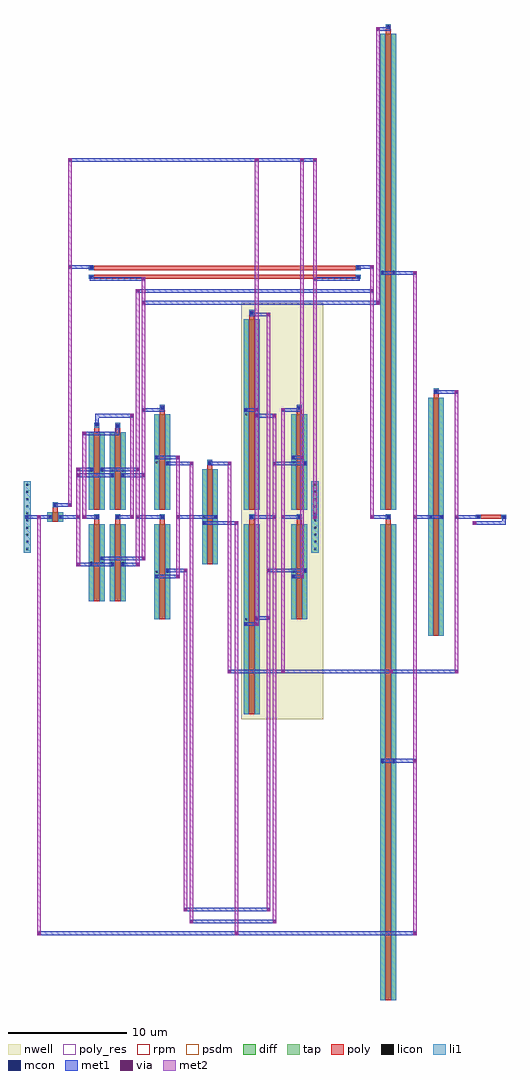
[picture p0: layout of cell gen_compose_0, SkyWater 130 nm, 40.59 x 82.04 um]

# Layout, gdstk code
import gdstk
lib = gdstk.Library(unit=1e-6, precision=1e-09)
def R(c, l, rs):  # rectangles x0, y0, x1, y1
    for r in rs: c.add(gdstk.rectangle(r[:2], r[2:], *l))
def A(c, l, x, y, w, h, nx, ny, dx, dy):  # array of equal rectangles
    R(c, l, [(x+i*dx, y+j*dy, x+i*dx+w, y+j*dy+h) for i in range(nx) for j in range(ny)])
nwell = (64, 20)
diff = (65, 20)
tap = (65, 44)
poly_res = (66, 13)
poly = (66, 20)
licon = (66, 44)
li1 = (67, 20)
mcon = (67, 44)
met1 = (68, 20)
via = (68, 44)
met2 = (69, 20)
rpm = (86, 20)
psdm = (94, 20)

mos_array = lib.new_cell('mos_array')
R(mos_array, diff, [(0,0,1.34,0.8)])
R(mos_array, poly, [(0.42,0,0.92,0.8), (0.46,0.8,0.88,1.62)])
R(mos_array, licon, [(0.125,0.315,0.295,0.485), (1.045,0.315,1.215,0.485), (0.585,1.325,0.755,1.495)])
R(mos_array, li1, [(0,0,0.42,0.8), (0.92,0,1.34,0.8), (0.46,1.2,0.88,1.62)])

ptail__ptail = lib.new_cell('ptail__PTAIL')
ptail__ptail.add(gdstk.Reference(mos_array, (0,0)))

diff_pair = lib.new_cell('diff_pair')
R(diff_pair, diff, [(0,0,1.34,6.5), (1.74,0,3.08,6.5), (0,7.72,1.34,14.22), (1.74,7.72,3.08,14.22)])
R(diff_pair, poly, [(0.42,0,0.92,6.5), (2.16,0,2.66,6.5), (0.46,6.5,0.88,7.32), (2.2,6.5,2.62,7.32), (0.42,7.72,0.92,14.22), (2.16,7.72,2.66,14.22), (0.46,14.22,0.88,15.04), (2.2,14.22,2.62,15.04)])
R(diff_pair, licon, [(0.125,3.165,0.295,3.335), (1.045,3.165,1.215,3.335), (1.865,3.165,2.035,3.335), (2.785,3.165,2.955,3.335), (0.585,7.025,0.755,7.195), (2.325,7.025,2.495,7.195), (0.125,10.885,0.295,11.055), (1.045,10.885,1.215,11.055), (1.865,10.885,2.035,11.055), (2.785,10.885,2.955,11.055), (0.585,14.745,0.755,14.915), (2.325,14.745,2.495,14.915)])
R(diff_pair, li1, [(0,0,0.42,6.5), (0.92,0,1.34,6.5), (1.74,0,2.16,6.5), (2.66,0,3.08,6.5), (0.46,6.9,0.88,7.32), (2.2,6.9,2.62,7.32), (0,7.72,0.42,14.22), (0.92,7.72,1.34,14.22), (1.74,7.72,2.16,14.22), (2.66,7.72,3.08,14.22), (0.46,14.62,0.88,15.04), (2.2,14.62,2.62,15.04)])

inpair__inpair = lib.new_cell('inpair__INPAIR')
inpair__inpair.add(gdstk.Reference(diff_pair, (0,0)))

res_array = lib.new_cell('res_array')
R(res_array, poly_res, [(0.42,0,22.42,0.35), (0.42,0.75,22.42,1.1)])
R(res_array, poly, [(0,0,22.84,0.35), (0,0.75,22.84,1.1)])
R(res_array, licon, [(0.125,0.09,0.295,0.26), (22.545,0.09,22.715,0.26), (0.125,0.84,0.295,1.01), (22.545,0.84,22.715,1.01)])
R(res_array, li1, [(0,0,0.42,0.35), (22.42,0,22.84,0.35), (0,0.75,0.42,1.1), (22.42,0.75,22.84,1.1)])
R(res_array, rpm, [(0.42,0,22.42,0.35), (0.42,0.75,22.42,1.1)])
R(res_array, psdm, [(0.42,0,22.42,0.35), (0.42,0.75,22.42,1.1)])

rload__rload = lib.new_cell('rload__RLOAD')
rload__rload.add(gdstk.Reference(res_array, (0,0)))

diff_pair_1 = lib.new_cell('diff_pair$1')
R(diff_pair_1, diff, [(0,0,1.34,8), (0,9.22,1.34,17.22)])
R(diff_pair_1, poly, [(0.42,0,0.92,8), (0.46,8,0.88,8.82), (0.42,9.22,0.92,17.22), (0.46,17.22,0.88,18.04)])
R(diff_pair_1, licon, [(0.125,3.915,0.295,4.085), (1.045,3.915,1.215,4.085), (0.585,8.525,0.755,8.695), (0.125,13.135,0.295,13.305), (1.045,13.135,1.215,13.305), (0.585,17.745,0.755,17.915)])
R(diff_pair_1, li1, [(0,0,0.42,8), (0.92,0,1.34,8), (0.46,8.4,0.88,8.82), (0,9.22,0.42,17.22), (0.92,9.22,1.34,17.22), (0.46,17.62,0.88,18.04)])

stn__stn = lib.new_cell('stn__STN')
stn__stn.add(gdstk.Reference(diff_pair_1, (0,0)))

mos_array_1 = lib.new_cell('mos_array$1')
R(mos_array_1, diff, [(0,0,1.34,8)])
R(mos_array_1, poly, [(0.42,0,0.92,8), (0.46,8,0.88,8.82)])
R(mos_array_1, licon, [(0.125,3.915,0.295,4.085), (1.045,3.915,1.215,4.085), (0.585,8.525,0.755,8.695)])
R(mos_array_1, li1, [(0,0,0.42,8), (0.92,0,1.34,8), (0.46,8.4,0.88,8.82)])

tail2__tail2 = lib.new_cell('tail2__TAIL2')
tail2__tail2.add(gdstk.Reference(mos_array_1, (0,0)))

diff_pair_2 = lib.new_cell('diff_pair$2')
R(diff_pair_2, nwell, [(-0.15,-0.15,1.49,34.19)])
R(diff_pair_2, diff, [(0,0,1.34,16), (0,17.22,1.34,33.22)])
R(diff_pair_2, poly, [(0.42,0,0.92,16), (0.46,16,0.88,16.82), (0.42,17.22,0.92,33.22), (0.46,33.22,0.88,34.04)])
R(diff_pair_2, licon, [(0.125,7.915,0.295,8.085), (1.045,7.915,1.215,8.085), (0.585,16.525,0.755,16.695), (0.125,25.135,0.295,25.305), (1.045,25.135,1.215,25.305), (0.585,33.745,0.755,33.915)])
R(diff_pair_2, li1, [(0,0,0.42,16), (0.92,0,1.34,16), (0.46,16.4,0.88,16.82), (0,17.22,0.42,33.22), (0.92,17.22,1.34,33.22), (0.46,33.62,0.88,34.04)])

latp__latp = lib.new_cell('latp__LATP')
latp__latp.add(gdstk.Reference(diff_pair_2, (0,0)))

diff_pair_3 = lib.new_cell('diff_pair$3')
R(diff_pair_3, nwell, [(-0.15,-0.15,1.49,18.19)])
R(diff_pair_3, diff, [(0,0,1.34,8), (0,9.22,1.34,17.22)])
R(diff_pair_3, poly, [(0.42,0,0.92,8), (0.46,8,0.88,8.82), (0.42,9.22,0.92,17.22), (0.46,17.22,0.88,18.04)])
R(diff_pair_3, licon, [(0.125,3.915,0.295,4.085), (1.045,3.915,1.215,4.085), (0.585,8.525,0.755,8.695), (0.125,13.135,0.295,13.305), (1.045,13.135,1.215,13.305), (0.585,17.745,0.755,17.915)])
R(diff_pair_3, li1, [(0,0,0.42,8), (0.92,0,1.34,8), (0.46,8.4,0.88,8.82), (0,9.22,0.42,17.22), (0.92,9.22,1.34,17.22), (0.46,17.62,0.88,18.04)])

rst__rst = lib.new_cell('rst__RST')
rst__rst.add(gdstk.Reference(diff_pair_3, (0,0)))

diff_pair_4 = lib.new_cell('diff_pair$4')
R(diff_pair_4, diff, [(0,0,1.34,40), (0,41.22,1.34,81.22)])
R(diff_pair_4, poly, [(0.42,0,0.92,40), (0.46,40,0.88,40.82), (0.42,41.22,0.92,81.22), (0.46,81.22,0.88,82.04)])
R(diff_pair_4, licon, [(0.125,19.915,0.295,20.085), (1.045,19.915,1.215,20.085), (0.585,40.525,0.755,40.695), (0.125,61.135,0.295,61.305), (1.045,61.135,1.215,61.305), (0.585,81.745,0.755,81.915)])
R(diff_pair_4, li1, [(0,0,0.42,40), (0.92,0,1.34,40), (0.46,40.4,0.88,40.82), (0,41.22,0.42,81.22), (0.92,41.22,1.34,81.22), (0.46,81.62,0.88,82.04)])

absorb__absorb = lib.new_cell('absorb__ABSORB')
absorb__absorb.add(gdstk.Reference(diff_pair_4, (0,0)))

mos_array_2 = lib.new_cell('mos_array$2')
R(mos_array_2, diff, [(0,0,1.34,20)])
R(mos_array_2, poly, [(0.42,0,0.92,20), (0.46,20,0.88,20.82)])
R(mos_array_2, licon, [(0.125,9.915,0.295,10.085), (1.045,9.915,1.215,10.085), (0.585,20.525,0.755,20.695)])
R(mos_array_2, li1, [(0,0,0.42,20), (0.92,0,1.34,20), (0.46,20.4,0.88,20.82)])

clkcap__clkcap = lib.new_cell('clkcap__CLKCAP')
clkcap__clkcap.add(gdstk.Reference(mos_array_2, (0,0)))

res_array_1 = lib.new_cell('res_array$1')
R(res_array_1, poly_res, [(0.42,0,2.17,0.35)])
R(res_array_1, poly, [(0,0,2.59,0.35)])
R(res_array_1, licon, [(0.125,0.09,0.295,0.26), (2.295,0.09,2.465,0.26)])
R(res_array_1, li1, [(0,0,0.42,0.35), (2.17,0,2.59,0.35)])
R(res_array_1, rpm, [(0.42,0,2.17,0.35)])
R(res_array_1, psdm, [(0.42,0,2.17,0.35)])

rclks__rclks = lib.new_cell('rclks__RCLKS')
rclks__rclks.add(gdstk.Reference(res_array_1, (0,0)))

route__route = lib.new_cell('route__ROUTE')
R(route__route, nwell, [(18.3,28,25.2,63)])
R(route__route, tap, [(0,42,0.6,48), (24.2,42,24.8,48)])
A(route__route, licon, 0.215, 42.215, 0.17, 0.17, 1, 10, 0, 0.6)
A(route__route, licon, 24.415, 42.215, 0.17, 0.17, 1, 10, 0, 0.6)
R(route__route, li1, [(0,42,0.6,48), (24.2,42,24.8,48)])
R(route__route, mcon, [(30.125,24.415,30.295,24.585), (31.045,24.415,31.215,24.585), (18.625,35.915,18.795,36.085), (19.545,36.415,19.715,36.585), (11.125,39.915,11.295,40.085), (22.625,39.915,22.795,40.085), (12.045,40.415,12.215,40.585), (23.545,40.415,23.715,40.585), (5.625,40.915,5.795,41.085), (7.365,40.915,7.535,41.085), (8.285,40.915,8.455,41.085), (6.545,41.415,6.715,41.585), (15.125,44.415,15.295,44.585), (40.295,44.86,40.465,45.03), (0.215,44.915,0.385,45.085), (2.125,44.915,2.295,45.085), (3.045,44.915,3.215,45.085), (6.085,44.915,6.255,45.085), (7.825,44.915,7.995,45.085), (11.585,44.915,11.755,45.085), (16.045,44.915,16.215,45.085), (19.085,44.915,19.255,45.085), (23.085,44.915,23.255,45.085), (24.415,44.915,24.585,45.085), (30.585,44.915,30.755,45.085), (34.125,44.915,34.295,45.085), (35.045,44.915,35.215,45.085), (38.125,44.915,38.295,45.085), (2.585,45.915,2.755,46.085), (7.365,48.415,7.535,48.585), (8.285,48.415,8.455,48.585), (5.625,48.915,5.795,49.085), (6.545,48.915,6.715,49.085), (12.045,49.415,12.215,49.585), (23.545,49.415,23.715,49.585), (15.585,49.435,15.755,49.605), (11.125,49.915,11.295,50.085), (22.625,49.915,22.795,50.085), (7.825,52.545,7.995,52.715), (6.085,52.725,6.255,52.895), (19.545,53.415,19.715,53.585), (18.625,53.915,18.795,54.085), (11.585,54.045,11.755,54.215), (23.085,54.045,23.255,54.215), (34.585,55.435,34.755,55.605), (19.085,62.045,19.255,62.215), (5.625,65.035,5.795,65.205), (28.045,65.035,28.215,65.205), (30.125,65.415,30.295,65.585), (31.045,65.415,31.215,65.585), (5.625,65.895,5.795,66.065), (28.045,65.895,28.215,66.065), (30.585,86.045,30.755,86.215)])
R(route__route, met1, [(1.15,9.85,18.05,10.15), (17.75,9.85,33.05,10.15), (13.95,10.85,21.25,11.15), (13.45,11.85,20.75,12.15), (30.06,24.35,30.36,24.65), (30.06,24.35,33.05,24.65), (30.98,24.35,31.28,24.65), (30.98,24.35,33.05,24.65), (17.15,31.85,21.95,32.15), (21.65,31.85,31.05,32.15), (30.75,31.85,36.55,32.15), (18.56,35.85,18.86,36.15), (18.56,35.85,19.75,36.15), (19.48,36.35,20.75,36.65), (19.48,36.35,19.78,36.65), (11.06,39.85,11.36,40.15), (11.06,39.85,13.15,40.15), (22.56,39.85,22.86,40.15), (22.56,39.85,23.55,40.15), (11.98,40.35,13.75,40.65), (11.98,40.35,12.28,40.65), (20.45,40.35,23.78,40.65), (23.48,40.35,23.78,40.65), (4.45,40.85,5.86,41.15), (4.45,40.85,7.6,41.15), (5.56,40.85,5.86,41.15), (7.3,40.85,7.6,41.15), (8.22,40.85,8.52,41.15), (8.22,40.85,9.75,41.15), (6.48,41.35,6.78,41.65), (6.48,41.35,10.25,41.65), (15.06,44.35,15.36,44.65), (15.06,44.35,18.05,44.65), (37.75,44.35,40.53,44.65), (40.23,44.35,40.53,45.095), (40.23,44.795,40.53,45.095), (0.15,44.85,0.45,45.15), (0.15,44.85,1.45,45.15), (1.15,44.85,2.36,45.15), (2.06,44.85,2.36,45.15), (2.98,44.85,4.75,45.15), (2.98,44.85,3.28,45.15), (4.95,44.85,6.32,45.15), (6.02,44.85,6.32,45.15), (7.76,44.85,8.06,45.15), (7.76,44.85,9.25,45.15), (9.45,44.85,11.82,45.15), (11.52,44.85,11.82,45.15), (12.85,44.85,16.28,45.15), (15.98,44.85,16.28,45.15), (19.02,44.85,21.25,45.15), (19.02,44.85,19.32,45.15), (21.65,44.85,23.32,45.15), (23.02,44.85,23.32,45.15), (24.35,44.85,24.65,45.15), (24.35,44.85,24.65,45.15), (29.15,44.85,30.82,45.15), (30.52,44.85,30.82,45.15), (32.75,44.85,34.36,45.15), (32.75,44.85,35.28,45.15), (34.06,44.85,34.36,45.15), (34.98,44.85,35.28,45.15), (36.25,44.85,38.36,45.15), (38.06,44.85,38.36,45.15), (2.52,45.85,2.82,46.15), (2.52,45.85,4.05,46.15), (4.45,48.35,7.6,48.65), (7.3,48.35,7.6,48.65), (8.22,48.35,8.52,48.65), (8.22,48.35,10.25,48.65), (4.45,48.85,5.86,49.15), (5.56,48.85,5.86,49.15), (6.48,48.85,6.78,49.15), (6.48,48.85,9.75,49.15), (11.98,49.35,12.28,49.65), (11.98,49.35,14.25,49.65), (15.52,49.35,15.82,49.67), (15.52,49.35,17.45,49.65), (20.95,49.35,23.78,49.65), (23.48,49.35,23.78,49.65), (15.52,49.37,15.82,49.67), (11.06,49.85,11.36,50.15), (11.06,49.85,13.15,50.15), (22.56,49.85,22.86,50.15), (22.56,49.85,23.55,50.15), (4.95,51.85,8.06,52.15), (7.76,51.85,8.06,52.78), (7.76,52.48,8.06,52.78), (6.02,52.66,6.32,52.96), (6.02,52.66,6.32,53.65), (6.02,53.35,9.25,53.65), (19.48,53.35,21.25,53.65), (19.48,53.35,19.78,53.65), (9.95,53.85,11.82,54.15), (11.52,53.85,11.82,54.28), (18.56,53.85,18.86,54.15), (18.56,53.85,19.75,54.15), (21.65,53.85,23.32,54.15), (23.02,53.85,23.32,54.28), (11.52,53.98,11.82,54.28), (23.02,53.98,23.32,54.28), (34.52,55.35,34.82,55.67), (34.52,55.35,36.55,55.65), (34.52,55.37,34.82,55.67), (19.02,61.85,20.75,62.15), (19.02,61.85,19.32,62.28), (19.02,61.98,19.32,62.28), (9.95,62.85,29.95,63.15), (9.45,63.85,29.45,64.15), (5.56,64.85,5.86,65.27), (5.56,64.85,10.25,65.15), (24.35,64.85,28.28,65.15), (27.98,64.85,28.28,65.27), (5.56,64.97,5.86,65.27), (27.98,64.97,28.28,65.27), (30.06,65.35,30.36,65.65), (30.06,65.35,33.05,65.65), (30.98,65.35,31.28,65.65), (30.98,65.35,33.05,65.65), (5.56,65.83,5.86,66.13), (5.56,65.83,5.86,66.15), (27.98,65.83,28.28,66.13), (27.98,65.83,28.28,66.15), (3.75,65.85,5.86,66.15), (27.98,65.85,29.45,66.15), (3.75,74.85,19.75,75.15), (19.45,74.85,23.55,75.15), (23.25,74.85,24.65,75.15), (29.65,85.85,30.82,86.15), (30.52,85.85,30.82,86.28), (30.52,85.98,30.82,86.28)])
A(route__route, via, 12.925, 39.925, 0.15, 0.15, 1, 3, 0, 5)
A(route__route, via, 9.525, 40.925, 0.15, 0.15, 1, 3, 0, 4)
R(route__route, via, [(1.225,9.925,1.375,10.075), (17.825,9.925,17.975,10.075), (17.825,9.925,17.975,10.075), (32.825,9.925,32.975,10.075), (14.025,10.925,14.175,11.075), (21.025,10.925,21.175,11.075), (13.525,11.925,13.675,12.075), (20.525,11.925,20.675,12.075), (32.825,24.425,32.975,24.575), (32.825,24.425,32.975,24.575), (17.225,31.925,17.375,32.075), (21.725,31.925,21.875,32.075), (21.725,31.925,21.875,32.075), (30.825,31.925,30.975,32.075), (30.825,31.925,30.975,32.075), (36.325,31.925,36.475,32.075), (19.525,35.925,19.675,36.075), (20.525,36.425,20.675,36.575), (23.325,39.925,23.475,40.075), (13.525,40.425,13.675,40.575), (20.525,40.425,20.675,40.575), (4.525,40.925,4.675,41.075), (4.525,40.925,4.675,41.075), (10.025,41.425,10.175,41.575), (17.825,44.425,17.975,44.575), (37.825,44.425,37.975,44.575), (1.225,44.925,1.375,45.075), (1.225,44.925,1.375,45.075), (4.525,44.925,4.675,45.075), (5.025,44.925,5.175,45.075), (9.025,44.925,9.175,45.075), (21.025,44.925,21.175,45.075), (21.725,44.925,21.875,45.075), (24.425,44.925,24.575,45.075), (29.225,44.925,29.375,45.075), (32.825,44.925,32.975,45.075), (32.825,44.925,32.975,45.075), (36.325,44.925,36.475,45.075), (3.825,45.925,3.975,46.075), (4.525,48.425,4.675,48.575), (10.025,48.425,10.175,48.575), (4.525,48.925,4.675,49.075), (14.025,49.425,14.175,49.575), (17.225,49.425,17.375,49.575), (21.025,49.425,21.175,49.575), (23.325,49.925,23.475,50.075), (5.025,51.925,5.175,52.075), (9.025,53.425,9.175,53.575), (21.025,53.425,21.175,53.575), (10.025,53.925,10.175,54.075), (19.525,53.925,19.675,54.075), (21.725,53.925,21.875,54.075), (36.325,55.425,36.475,55.575), (20.525,61.925,20.675,62.075), (10.025,62.925,10.175,63.075), (29.725,62.925,29.875,63.075), (9.525,63.925,9.675,64.075), (29.225,63.925,29.375,64.075), (10.025,64.925,10.175,65.075), (24.425,64.925,24.575,65.075), (32.825,65.425,32.975,65.575), (32.825,65.425,32.975,65.575), (3.825,65.925,3.975,66.075), (29.225,65.925,29.375,66.075), (3.825,74.925,3.975,75.075), (19.525,74.925,19.675,75.075), (19.525,74.925,19.675,75.075), (23.325,74.925,23.475,75.075), (23.325,74.925,23.475,75.075), (24.425,74.925,24.575,75.075), (29.725,85.925,29.875,86.075)])
R(route__route, met2, [(1.15,9.85,1.45,45.15), (17.75,9.85,18.05,44.65), (32.75,9.85,33.05,65.65), (13.95,10.85,14.25,49.65), (20.95,10.85,21.25,53.65), (13.45,11.85,13.75,40.65), (20.45,11.85,20.75,62.15), (17.15,31.85,17.45,49.65), (21.65,31.85,21.95,54.15), (30.75,31.85,31.05,32.15), (36.25,31.85,36.55,55.65), (19.45,35.85,19.75,75.15), (12.85,39.85,13.15,50.15), (23.25,39.85,23.55,75.15), (4.45,40.85,4.75,49.15), (9.45,40.85,9.75,64.15), (9.95,41.35,10.25,65.15), (37.75,44.35,38.05,44.65), (4.95,44.85,5.25,52.15), (8.95,44.85,9.25,53.65), (24.35,44.85,24.65,75.15), (29.15,44.85,29.45,66.15), (3.75,45.85,4.05,75.15), (29.65,62.85,29.95,86.15)])
route__route.add(gdstk.Label('VINN', (5.1,45), layer=68, texttype=5))
route__route.add(gdstk.Label('VINP', (9.1,45), layer=68, texttype=5))
route__route.add(gdstk.Label('OUTP', (13.6,40.5), layer=68, texttype=5))
route__route.add(gdstk.Label('OUTN', (14.1,49.5), layer=68, texttype=5))
route__route.add(gdstk.Label('GND', (1.3,45), layer=68, texttype=5))
route__route.add(gdstk.Label('VDD', (3.9,46), layer=68, texttype=5))
route__route.add(gdstk.Label('CLK', (37.9,44.5), layer=68, texttype=5))

gen_compose_0 = lib.new_cell('gen_compose_0')
gen_compose_0.add(gdstk.Reference(ptail__ptail, (2,44.6)))
gen_compose_0.add(gdstk.Reference(inpair__inpair, (5.5,37.89)))
gen_compose_0.add(gdstk.Reference(rload__rload, (5.5,65)))
gen_compose_0.add(gdstk.Reference(stn__stn, (11,36.39)))
gen_compose_0.add(gdstk.Reference(tail2__tail2, (15,41)))
gen_compose_0.add(gdstk.Reference(latp__latp, (18.5,28.39)))
gen_compose_0.add(gdstk.Reference(rst__rst, (22.5,36.39)))
gen_compose_0.add(gdstk.Reference(absorb__absorb, (30,4.39)))
gen_compose_0.add(gdstk.Reference(clkcap__clkcap, (34,35)))
gen_compose_0.add(gdstk.Reference(rclks__rclks, (38,44.825)))
gen_compose_0.add(gdstk.Reference(route__route, (0,0)))

lib.write_gds('gen_compose_0.gds')
